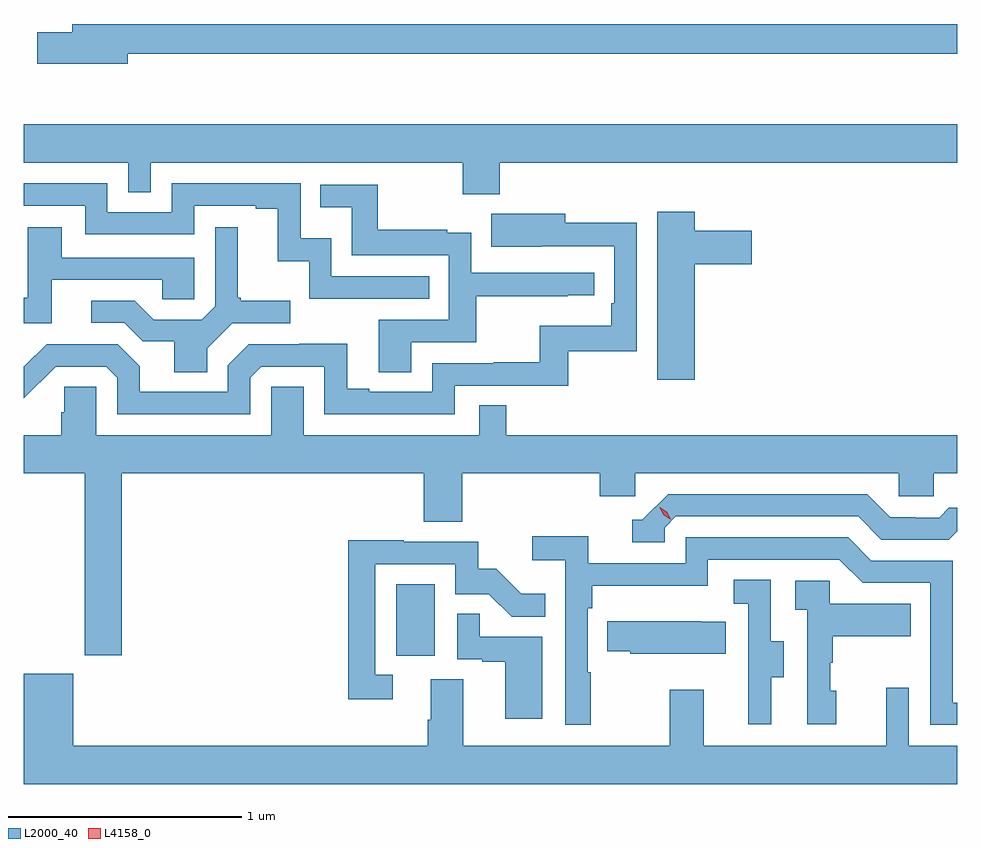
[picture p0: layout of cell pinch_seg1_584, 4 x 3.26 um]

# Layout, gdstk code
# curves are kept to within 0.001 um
import gdstk
lib = gdstk.Library(unit=1e-6, precision=1e-09)
def R(c, l, rs):  # rectangles x0, y0, x1, y1
    for r in rs: c.add(gdstk.rectangle(r[:2], r[2:], *l))
def P(c, l, *ps):  # polygons
    for p in ps: c.add(gdstk.Polygon(p, *l))
L2000_40 = (2000, 40)
L4158_0 = (4158, 0)

pinch_seg1_584 = lib.new_cell('pinch_seg1_584')
R(pinch_seg1_584, L2000_40, [(1057.538,508.326,1057.702,508.633)])
P(pinch_seg1_584, L2000_40, [(1056.388,510.906),(1059.942,510.906),(1059.942,511.034),(1056.149,511.034),(1056.149,510.998),(1056,510.998),(1056,510.863),(1056.388,510.863)],
  [(1057.982,510.44),(1059.942,510.44),(1059.942,510.604),(1055.942,510.604),(1055.942,510.44),(1056.39,510.44),(1056.39,510.313),(1056.486,510.313),(1056.486,510.44),(1057.822,510.44),(1057.822,510.305),(1057.982,510.305)],
  [(1057.679,509.952),(1057.26,509.952),(1057.26,510.115),(1057.128,510.115),(1057.128,510.351),(1056.576,510.351),(1056.576,510.228),(1056.3,510.228),(1056.3,510.351),(1055.942,510.351),(1055.942,510.255),(1056.204,510.255),(1056.204,510.132),(1056.672,510.132),(1056.672,510.255),(1056.935,510.255),(1056.935,510.243),(1057.031,510.243),(1057.031,510.017),(1057.164,510.017),(1057.164,509.856),(1057.679,509.856)],
  [(1057.603,509.67),(1057.88,509.67),(1057.88,509.866),(1058.273,509.866),(1058.273,509.871),(1058.386,509.871),(1058.386,509.967),(1057.86,509.967),(1057.86,510.139),(1057.757,510.139),(1057.757,510.151),(1057.459,510.151),(1057.459,510.345),(1057.213,510.345),(1057.213,510.248),(1057.348,510.248),(1057.348,510.042),(1057.764,510.042),(1057.764,509.766),(1057.463,509.766),(1057.463,509.542),(1057.603,509.542)],
  [(1058.818,510.005),(1059.061,510.005),(1059.061,510.147),(1058.818,510.147),(1058.818,510.229),(1058.657,510.229),(1058.657,509.508),(1058.818,509.508)],
  [(1056.912,509.517),(1056.96,509.565),(1057.23,509.565),(1057.23,509.361),(1057.788,509.361),(1057.788,509.484),(1058.275,509.484),(1058.275,509.631),(1058.568,509.631),(1058.568,510.182),(1058.263,510.182),(1058.263,510.22),(1057.945,510.22),(1057.945,510.08),(1058.472,510.081),(1058.472,509.836),(1058.459,509.836),(1058.459,509.74),(1058.154,509.74),(1058.154,509.585),(1057.957,509.585),(1057.957,509.58),(1057.692,509.58),(1057.692,509.457),(1057.423,509.457),(1057.423,509.47),(1057.327,509.47),(1057.327,509.663),(1057.122,509.663),(1057.122,509.661),(1056.906,509.661),(1056.816,509.571),(1056.816,509.457),(1056.439,509.457),(1056.439,509.567),(1056.345,509.661),(1056.039,509.661),(1055.942,509.564),(1055.942,509.429),(1056.078,509.565),(1056.294,509.565),(1056.342,509.517),(1056.342,509.361),(1056.912,509.361)],
  [(1056.061,509.937),(1056.535,509.937),(1056.535,509.853),(1056.672,509.853),(1056.672,510.033),(1056.103,510.033),(1056.103,510.163),(1055.959,510.163),(1055.959,509.86),(1055.942,509.86),(1055.942,509.751),(1056.061,509.751)],
  [(1056.727,509.644),(1056.834,509.751),(1057.084,509.751),(1057.084,509.848),(1056.871,509.848),(1056.871,509.86),(1056.859,509.86),(1056.859,510.163),(1056.762,510.163),(1056.762,509.823),(1056.705,509.766),(1056.499,509.766),(1056.418,509.847),(1056.231,509.847),(1056.231,509.754),(1056.372,509.754),(1056.452,509.674),(1056.587,509.674),(1056.587,509.542),(1056.727,509.542)],
  [(1056.362,509.108),(1057.655,509.108),(1057.655,508.9),(1057.82,508.9),(1057.82,509.108),(1058.411,509.108),(1058.411,509.01),(1058.562,509.01),(1058.562,509.108),(1059.693,509.108),(1059.693,509.01),(1059.843,509.01),(1059.843,509.108),(1059.942,509.108),(1059.942,509.272),(1058.009,509.272),(1058.009,509.399),(1057.893,509.399),(1057.893,509.272),(1057.141,509.272),(1057.141,509.48),(1057.002,509.48),(1057.002,509.272),(1056.252,509.272),(1056.252,509.48),(1056.115,509.48),(1056.115,509.37),(1056.101,509.37),(1056.101,509.272),(1055.942,509.272),(1055.942,509.108),(1056.202,509.108),(1056.202,508.329),(1056.362,508.329)],
  [(1058.688,508.875),(1058.736,508.923),(1059.519,508.923),(1059.618,508.824),(1059.907,508.824),(1059.942,508.859),(1059.942,508.96),(1059.907,508.96),(1059.865,508.917),(1059.762,508.917),(1059.762,508.92),(1059.655,508.92),(1059.556,509.019),(1058.703,509.019),(1058.592,508.908),(1058.549,508.908),(1058.549,508.812),(1058.688,508.812)],
  [(1058.371,508.256),(1058.358,508.256),(1058.358,508.529),(1058.378,508.529),(1058.378,508.625),(1058.874,508.625),(1058.874,508.737),(1059.438,508.737),(1059.537,508.638),(1059.828,508.638),(1059.828,508.029),(1059.942,508.029),(1059.942,508.125),(1059.924,508.125),(1059.924,508.734),(1059.574,508.734),(1059.475,508.833),(1058.778,508.833),(1058.778,508.722),(1058.36,508.722),(1058.36,508.838),(1058.121,508.838),(1058.121,508.736),(1058.262,508.736),(1058.262,508.029),(1058.371,508.029)],
  [(1057.522,508.245),(1057.449,508.245),(1057.449,508.719),(1057.791,508.719),(1057.791,508.59),(1057.935,508.59),(1058.033,508.492),(1058.177,508.492),(1058.177,508.591),(1058.073,508.591),(1057.966,508.698),(1057.89,508.698),(1057.89,508.815),(1057.571,508.815),(1057.571,508.82),(1057.333,508.82),(1057.333,508.14),(1057.522,508.14)],
  [(1059.145,508.234),(1059.199,508.234),(1059.199,508.389),(1059.144,508.389),(1059.144,508.652),(1058.985,508.652),(1058.985,508.549),(1059.048,508.549),(1059.048,508.245),(1059.047,508.245),(1059.047,508.032),(1059.145,508.032)],
  [(1059.424,508.176),(1059.399,508.176),(1059.399,508.295),(1059.409,508.295),(1059.409,508.409),(1059.743,508.409),(1059.743,508.549),(1059.396,508.549),(1059.396,508.647),(1059.249,508.647),(1059.249,508.523),(1059.3,508.523),(1059.3,508.032),(1059.424,508.032)],
  [(1058.164,508.407),(1057.895,508.407),(1057.895,508.505),(1057.8,508.505),(1057.8,508.311),(1057.907,508.311),(1057.907,508.299),(1058.006,508.299),(1058.006,508.056),(1058.164,508.056)],
  [(1058.951,508.471),(1058.843,508.471),(1058.843,508.474),(1058.443,508.474),(1058.443,508.345),(1058.541,508.345),(1058.541,508.334),(1058.951,508.334)],
  [(1059.942,507.94),(1059.735,507.94),(1059.735,508.189),(1059.638,508.189),(1059.638,507.94),(1058.857,507.94),(1058.857,508.18),(1058.71,508.18),(1058.71,507.94),(1057.825,507.94),(1057.825,508.226),(1057.685,508.226),(1057.685,508.052),(1057.673,508.052),(1057.673,507.94),(1056.154,507.94),(1056.154,508.249),(1055.942,508.249),(1055.942,507.776),(1059.942,507.776)])
P(pinch_seg1_584, L4158_0, [(1058.713,508.91),(1058.683,508.93),(1058.667,508.963),(1058.667,508.963),(1058.668,508.963),(1058.698,508.943),(1058.714,508.91),(1058.714,508.91)])

lib.write_gds('pinch_seg1_584.gds')
